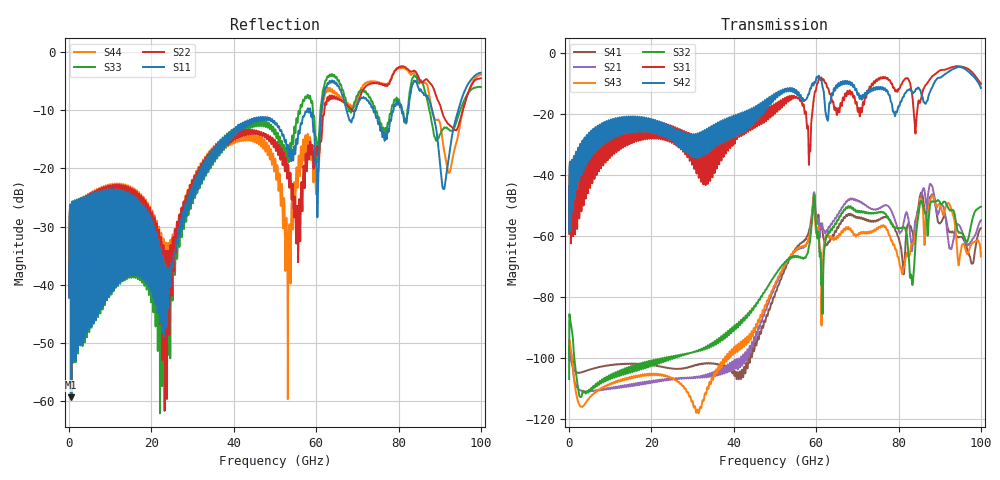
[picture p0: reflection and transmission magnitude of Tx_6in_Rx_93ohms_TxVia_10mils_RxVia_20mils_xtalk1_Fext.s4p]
! Info: Touchstone file created by Circ.  Input file=Tx_6in_Rx_93ohms_TxVia_10mils_RxVia_20mils.circ
# Hz S RI R 50
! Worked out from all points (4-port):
!   10000 points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, 10 MHz to 100 GHz, reference 50 ohm
!   strongest paths, dB at 10 MHz, 25.01 GHz, 50.01 GHz, 75.01 GHz, 100 GHz:
!     S42: -58.6, -28.1, -15.2, -11.2, -11.4
!     S31: -59.3, -28.1, -19.8, -8.5, -10.0
!     S32: -106.9, -100.2, -72.9, -52.4, -50.4
!     S43: -97.5, -106.6, -76.0, -57.6, -66.7
!     S21: -98.3, -107.0, -76.7, -51.2, -54.8
!     S41: -98.1, -103.5, -78.9, -54.9, -57.4
!   lowest |S11| = -59.3 dB at 540 MHz (marker M1), VSWR 1.00, Z = 49.9 + j0.00575 ohm
!   |S11| at or under -10 dB: start of sweep to 57.85 GHz; 73.87 GHz to 78.79 GHz (4.914 GHz wide, 6.44 % of centre); 88.15 GHz to 94.52 GHz (6.375 GHz wide, 6.98 % of centre) (the widest 3 of 7)
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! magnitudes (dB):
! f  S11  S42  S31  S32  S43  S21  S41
! 10 MHz  -42.2  -58.6  -59.3  -106.9  -97.5  -98.3  -98.1
! 540 MHz  -59.3  -42.4  -42.5  -89.7  -97.9  -101.1  -99.5
! 24.14 GHz  -42.3  -23.6  -23.4  -100.2  -106.4  -107.1  -103.3
! 49.43 GHz  -11.9  -15.9  -20.4  -74.1  -77.8  -78.6  -81.2
! 59.32 GHz  -13.7  -10.6  -15.9  -49.2  -48.5  -47.9  -47.3
! 83.2 GHz  -6.0  -12.5  -12.7  -74.3  -62.7  -64.5  -58.0
! 100 GHz  -3.6  -11.4  -10.0  -50.4  -66.7  -54.8  -57.4
